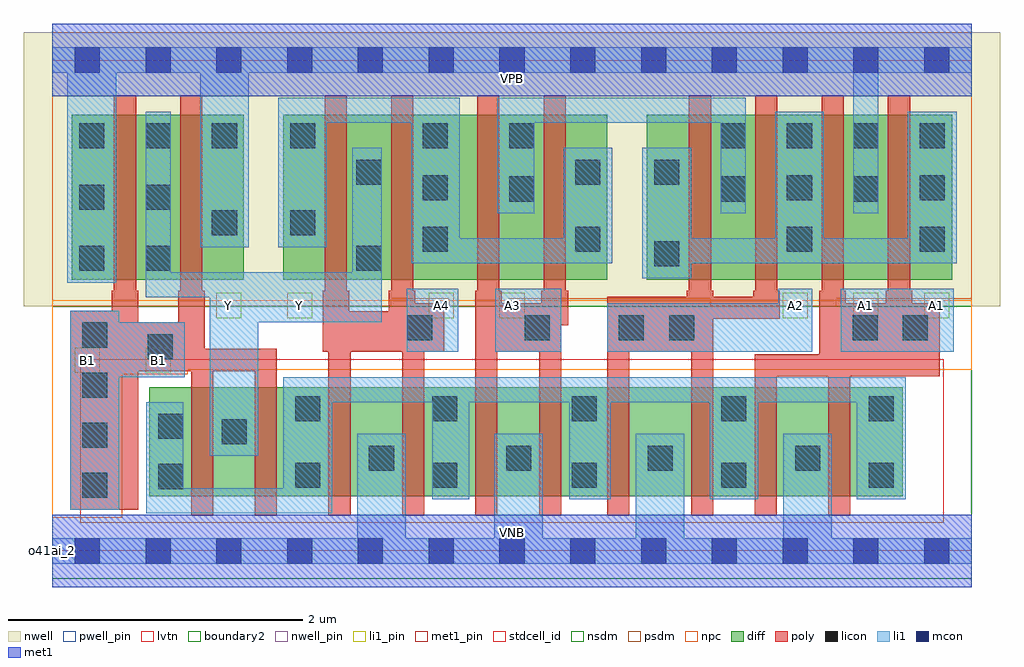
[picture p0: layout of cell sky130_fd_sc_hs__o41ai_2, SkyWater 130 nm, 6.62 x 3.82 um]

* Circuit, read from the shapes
.subckt sky130_fd_sc_hs__o41ai_2 A1 A2 A3 A4 B1 VGND VNB VPB VPWR Y
XM1 Y B1 n1 VNB sky130_fd_pr__nfet_01v8_lvt w=0.74 l=0.15 m=2
XM2 VGND A4 n1 VNB sky130_fd_pr__nfet_01v8_lvt w=0.74 l=0.15 m=2
XM3 VGND A3 n1 VNB sky130_fd_pr__nfet_01v8_lvt w=0.74 l=0.15 m=2
XM4 VGND A2 n1 VNB sky130_fd_pr__nfet_01v8_lvt w=0.74 l=0.15 m=2
XM5 VGND A1 n1 VNB sky130_fd_pr__nfet_01v8_lvt w=0.74 l=0.15 m=2
XM6 Y B1 VPWR VPB sky130_fd_pr__pfet_01v8 w=1.12 l=0.15 m=2
XM7 Y A4 n2 VPB sky130_fd_pr__pfet_01v8 w=1.12 l=0.15 m=2
XM8 n3 A3 n2 VPB sky130_fd_pr__pfet_01v8 w=1.12 l=0.15 m=2
XM9 n3 A2 n4 VPB sky130_fd_pr__pfet_01v8 w=1.12 l=0.15 m=2
XM10 VPWR A1 n4 VPB sky130_fd_pr__pfet_01v8 w=1.12 l=0.15 m=2
.ends

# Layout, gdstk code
import gdstk
lib = gdstk.Library(unit=1e-6, precision=1e-09)
def R(c, l, rs):  # rectangles x0, y0, x1, y1
    for r in rs: c.add(gdstk.rectangle(r[:2], r[2:], *l))
def A(c, l, x, y, w, h, nx, ny, dx, dy):  # array of equal rectangles
    R(c, l, [(x+i*dx, y+j*dy, x+i*dx+w, y+j*dy+h) for i in range(nx) for j in range(ny)])
def P(c, l, *ps):  # polygons
    for p in ps: c.add(gdstk.Polygon(p, *l))
nwell_pin = (64, 16)
nwell = (64, 20)
diff = (65, 20)
poly = (66, 20)
licon = (66, 44)
li1_pin = (67, 16)
li1 = (67, 20)
mcon = (67, 44)
met1_pin = (68, 16)
met1 = (68, 20)
stdcell_id = (81, 4)
nsdm = (93, 44)
psdm = (94, 20)
npc = (95, 20)
pwell_pin = (122, 16)
lvtn = (125, 44)
boundary2 = (236, 0)

sky130_fd_sc_hs__o41ai_2 = lib.new_cell('sky130_fd_sc_hs__o41ai_2')
R(sky130_fd_sc_hs__o41ai_2, nwell_pin, [(0,3.085,6.24,3.33)])
R(sky130_fd_sc_hs__o41ai_2, nwell, [(-0.19,1.66,6.43,3.52)])
R(sky130_fd_sc_hs__o41ai_2, diff, [(0.66,0.37,5.77,1.11), (0.135,1.84,1.3,2.96), (1.57,1.84,3.765,2.96), (4.035,1.84,6.105,2.96)])
P(sky130_fd_sc_hs__o41ai_2, poly, [(6.02,1.68),(5.835,1.68),(5.835,1.765),(5.82,1.765),(5.82,3.09),(5.67,3.09),(5.67,1.765),(5.655,1.765),(5.655,1.68),(5.385,1.68),(5.385,1.765),(5.37,1.765),(5.37,3.09),(5.22,3.09),(5.22,1.765),(5.205,1.765),(5.205,1.335),(4.765,1.335),(4.765,0.24),(4.915,0.24),(4.915,1.185),(5.265,1.185),(5.265,0.24),(5.415,0.24),(5.415,1.185),(6.02,1.185)],
  [(4.935,1.765),(4.92,1.765),(4.92,3.09),(4.77,3.09),(4.77,1.765),(4.755,1.765),(4.755,1.725),(4.485,1.725),(4.485,1.765),(4.47,1.765),(4.47,3.09),(4.32,3.09),(4.32,1.765),(4.305,1.765),(4.305,1.725),(3.765,1.725),(3.765,0.24),(3.915,0.24),(3.915,1.35),(4.335,1.35),(4.335,0.24),(4.485,0.24),(4.485,1.575),(4.935,1.575)],
  [(3.5,1.765),(3.485,1.765),(3.485,3.09),(3.335,3.09),(3.335,1.765),(3.32,1.765),(3.32,1.68),(3.05,1.68),(3.05,1.765),(3.035,1.765),(3.035,3.09),(2.885,3.09),(2.885,1.765),(2.87,1.765),(2.87,0.24),(3.02,0.24),(3.02,1.35),(3.305,1.35),(3.305,0.24),(3.455,0.24),(3.455,1.53),(3.5,1.53)],
  [(2.66,1.68),(2.465,1.68),(2.465,1.765),(2.45,1.765),(2.45,3.09),(2.3,3.09),(2.3,1.765),(2.285,1.765),(2.285,1.625),(2.015,1.625),(2.015,1.765),(2,1.765),(2,3.09),(1.85,3.09),(1.85,1.765),(1.835,1.765),(1.835,1.35),(1.875,1.35),(1.875,0.24),(2.025,0.24),(2.025,1.35),(2.375,1.35),(2.375,0.24),(2.525,0.24),(2.525,1.35),(2.66,1.35)],
  [(1.525,1.37),(1.035,1.37),(1.035,1.765),(1.02,1.765),(1.02,3.09),(0.87,3.09),(0.87,1.765),(0.855,1.765),(0.855,1.55),(0.585,1.55),(0.585,1.765),(0.57,1.765),(0.57,3.09),(0.42,3.09),(0.42,1.765),(0.405,1.765),(0.405,1.63),(0.125,1.63),(0.125,0.28),(0.585,0.28),(0.585,1.22),(0.945,1.22),(0.945,0.24),(1.095,0.24),(1.095,1.22),(1.375,1.22),(1.375,0.24),(1.525,0.24)])
A(sky130_fd_sc_hs__o41ai_2, licon, 0.205, 0.36, 0.17, 0.17, 1, 4, 0, 0.34)
A(sky130_fd_sc_hs__o41ai_2, licon, 2.515, 2.03, 0.17, 0.17, 1, 3, 0, 0.35)
A(sky130_fd_sc_hs__o41ai_2, licon, 0.185, 2.73, 0.17, 0.17, 3, 1, 0.45, 0)
A(sky130_fd_sc_hs__o41ai_2, licon, 4.535, 2.73, 0.17, 0.17, 4, 1, 0.45, 0)
R(sky130_fd_sc_hs__o41ai_2, licon, [(0.72,0.42,0.89,0.59), (1.65,0.43,1.82,0.6), (2.58,0.43,2.75,0.6), (3.525,0.43,3.695,0.6), (4.54,0.43,4.71,0.6), (5.54,0.43,5.71,0.6), (2.15,0.545,2.32,0.715), (3.08,0.545,3.25,0.715), (4.04,0.545,4.21,0.715), (5.04,0.545,5.21,0.715), (1.15,0.725,1.32,0.895), (0.72,0.76,0.89,0.93), (1.65,0.88,1.82,1.05), (2.58,0.88,2.75,1.05), (3.525,0.88,3.695,1.05), (4.54,0.88,4.71,1.05), (5.54,0.88,5.71,1.05), (0.65,1.3,0.82,1.47), (2.41,1.43,2.58,1.6), (3.205,1.43,3.375,1.6), (3.845,1.43,4.015,1.6), (4.185,1.43,4.355,1.6), (5.43,1.43,5.6,1.6), (5.77,1.43,5.94,1.6), (0.185,1.9,0.355,2.07), (0.635,1.9,0.805,2.07), (2.065,1.9,2.235,2.07), (4.085,1.93,4.255,2.1), (3.55,2.03,3.72,2.2), (4.985,2.03,5.155,2.2), (5.885,2.03,6.055,2.2), (1.085,2.14,1.255,2.31), (1.615,2.14,1.785,2.31), (0.185,2.315,0.355,2.485), (0.635,2.315,0.805,2.485), (3.1,2.37,3.27,2.54), (4.535,2.37,4.705,2.54), (5.435,2.37,5.605,2.54), (4.985,2.38,5.155,2.55), (5.885,2.38,6.055,2.55), (2.065,2.485,2.235,2.655), (3.55,2.485,3.72,2.655), (4.085,2.485,4.255,2.655), (1.615,2.73,1.785,2.9), (3.1,2.73,3.27,2.9)])
A(sky130_fd_sc_hs__o41ai_2, li1_pin, 4.955, 1.58, 0.17, 0.17, 3, 1, 0.48, 0)
R(sky130_fd_sc_hs__o41ai_2, li1_pin, [(0.155,1.21,0.325,1.38), (0.635,1.21,0.805,1.38), (1.115,1.58,1.285,1.75), (1.595,1.58,1.765,1.75), (2.555,1.58,2.725,1.75), (3.035,1.58,3.205,1.75)])
R(sky130_fd_sc_hs__o41ai_2, li1, [(2.405,1.35,2.755,1.78), (3.005,1.35,3.455,1.78), (5.35,1.35,6.115,1.78)])
P(sky130_fd_sc_hs__o41ai_2, li1, [(0,-0.085),(0,0.085),(2.07,0.085),(2.07,0.795),(2.4,0.795),(2.4,0.085),(3,0.085),(3,0.795),(3.33,0.795),(3.33,0.085),(3.96,0.085),(3.96,0.795),(4.29,0.795),(4.29,0.085),(4.96,0.085),(4.96,0.795),(5.29,0.795),(5.29,0.085),(6.24,0.085),(6.24,-0.085)],
  [(0,3.245),(0,3.415),(6.24,3.415),(6.24,3.245),(5.605,3.245),(5.605,2.29),(5.435,2.29),(5.435,3.245),(1.335,3.245),(1.335,2.06),(1.005,2.06),(1.005,3.245),(0.435,3.245),(0.435,1.82),(0.105,1.82),(0.105,3.245)],
  [(1.07,1.72),(0.635,1.72),(0.635,2.98),(0.805,2.98),(0.805,1.89),(2.035,1.89),(2.035,2.735),(2.235,2.735),(2.235,1.55),(1.4,1.55),(1.4,0.645),(1.07,0.645)],
  [(0.125,0.28),(0.125,1.63),(0.455,1.63),(0.455,1.55),(0.9,1.55),(0.9,1.18),(0.455,1.18),(0.455,0.28)],
  [(3.765,1.35),(3.765,1.68),(4.925,1.68),(4.925,1.78),(5.155,1.78),(5.155,1.35)],
  [(4.535,2.905),(3.27,2.905),(3.27,2.29),(3.02,2.29),(3.02,3.075),(4.705,3.075),(4.705,2.29),(4.535,2.29)],
  [(2.58,1.01),(1.9,1.01),(1.9,0.255),(0.64,0.255),(0.64,1.01),(0.89,1.01),(0.89,0.425),(1.57,0.425),(1.57,1.18),(5.79,1.18),(5.79,0.35),(5.46,0.35),(5.46,1.01),(4.79,1.01),(4.79,0.35),(4.46,0.35),(4.46,1.01),(3.79,1.01),(3.79,0.35),(3.51,0.35),(3.51,1.01),(2.83,1.01),(2.83,0.35),(2.58,0.35)],
  [(2.435,1.95),(2.435,2.905),(1.865,2.905),(1.865,2.06),(1.535,2.06),(1.535,3.075),(2.765,3.075),(2.765,2.12),(3.47,2.12),(3.47,2.735),(3.8,2.735),(3.8,1.95)],
  [(4.905,2.12),(4.905,2.98),(5.235,2.98),(5.235,2.12),(5.805,2.12),(5.805,2.98),(6.135,2.98),(6.135,1.95),(4.335,1.95),(4.335,1.85),(4.005,1.85),(4.005,2.735),(4.335,2.735),(4.335,2.12)])
A(sky130_fd_sc_hs__o41ai_2, mcon, 0.155, -0.085, 0.17, 0.17, 13, 2, 0.48, 3.33)
R(sky130_fd_sc_hs__o41ai_2, met1_pin, [(0,0,6.24,0.245), (0,3.085,6.24,3.33)])
R(sky130_fd_sc_hs__o41ai_2, met1, [(0,-0.245,6.24,0.245), (0,3.085,6.24,3.575)])
R(sky130_fd_sc_hs__o41ai_2, stdcell_id, [(0,0,6.24,3.33)])
R(sky130_fd_sc_hs__o41ai_2, nsdm, [(0,-0.19,6.24,1.66)])
P(sky130_fd_sc_hs__o41ai_2, psdm, [(6.24,3.52),(0,3.52),(0,1.66),(2.3,1.66),(2.3,1.71),(2.69,1.71),(2.69,1.66),(3.095,1.66),(3.095,1.71),(4.465,1.71),(4.465,1.66),(5.32,1.66),(5.32,1.71),(6.24,1.71)])
P(sky130_fd_sc_hs__o41ai_2, npc, [(6.24,1.7),(0,1.7),(0,0.225),(0.475,0.225),(0.475,1.2),(0.92,1.2),(0.92,1.23),(6.24,1.23)])
R(sky130_fd_sc_hs__o41ai_2, pwell_pin, [(0,0,6.24,0.245)])
R(sky130_fd_sc_hs__o41ai_2, lvtn, [(0.19,0.19,6.05,1.3)])
R(sky130_fd_sc_hs__o41ai_2, boundary2, [(0,0,6.24,3.33)])
sky130_fd_sc_hs__o41ai_2.add(gdstk.Label('o41ai_2', (0,0), layer=83, texttype=44))
sky130_fd_sc_hs__o41ai_2.add(gdstk.Label('VNB', (3.12,0.123), layer=64, texttype=59))
sky130_fd_sc_hs__o41ai_2.add(gdstk.Label('VPB', (3.12,3.208), layer=64, texttype=5))
sky130_fd_sc_hs__o41ai_2.add(gdstk.Label('VPWR', (3.12,3.208), layer=68, texttype=5))
sky130_fd_sc_hs__o41ai_2.add(gdstk.Label('VGND', (3.12,0.123), layer=68, texttype=5))
sky130_fd_sc_hs__o41ai_2.add(gdstk.Label('A1', (5.52,1.665), layer=67, texttype=5))
sky130_fd_sc_hs__o41ai_2.add(gdstk.Label('A1', (6,1.665), layer=67, texttype=5))
sky130_fd_sc_hs__o41ai_2.add(gdstk.Label('Y', (1.2,1.665), layer=67, texttype=5))
sky130_fd_sc_hs__o41ai_2.add(gdstk.Label('Y', (1.68,1.665), layer=67, texttype=5))
sky130_fd_sc_hs__o41ai_2.add(gdstk.Label('B1', (0.24,1.295), layer=67, texttype=5))
sky130_fd_sc_hs__o41ai_2.add(gdstk.Label('B1', (0.72,1.295), layer=67, texttype=5))
sky130_fd_sc_hs__o41ai_2.add(gdstk.Label('A4', (2.64,1.665), layer=67, texttype=5))
sky130_fd_sc_hs__o41ai_2.add(gdstk.Label('A3', (3.12,1.665), layer=67, texttype=5))
sky130_fd_sc_hs__o41ai_2.add(gdstk.Label('A2', (5.04,1.665), layer=67, texttype=5))

lib.write_gds('sky130_fd_sc_hs__o41ai_2.gds')
